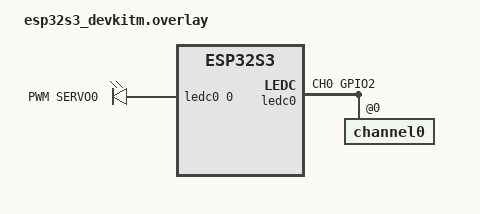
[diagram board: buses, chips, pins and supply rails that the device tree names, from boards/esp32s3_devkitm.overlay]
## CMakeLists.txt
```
# SPDX-License-Identifier: Apache-2.0

cmake_minimum_required(VERSION 3.20.0)
find_package(Zephyr REQUIRED HINTS $ENV{ZEPHYR_BASE})
project(servomotor_example)

target_sources(app PRIVATE src/main.c)
```

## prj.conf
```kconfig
CONFIG_STDOUT_CONSOLE=y
CONFIG_PRINTK=y
CONFIG_PWM=y
CONFIG_ENTROPY_DEVICE_RANDOM_GENERATOR=y
```

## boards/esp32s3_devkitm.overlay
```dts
#include <zephyr/dt-bindings/pwm/pwm.h>
#include <dt-bindings/pinctrl/esp32c3-pinctrl.h>

/ {
	aliases {
		pwm-servo0 = &pwm_servo0;
	};

	pwmleds {
		compatible = "pwm-leds";
		pwm_servo0: pwm_led_gpio0_2 {
			label = "PWM SERVO0";
			pwms = <&ledc0 0 PWM_MSEC(20) PWM_POLARITY_NORMAL>;
		};
	};
};

&pinctrl {
	ledc0_default: ledc0_default {
		group1 {
			pinmux = <LEDC_CH0_GPIO2>;
			output-enable;
		};
	};
};

&ledc0 {
	pinctrl-0 = <&ledc0_default>;
	pinctrl-names = "default";
	status = "okay";
	#address-cells = <1>;
	#size-cells = <0>;
	channel0@0 {
		reg = <0x0>;
		timer = <0>;
	};
};
```

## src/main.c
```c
/**
 * @file main.c
 * @author Jeronimo Agullo (jeronimoagullo97@gmail.com)
 * @brief Example of pwm signal controlling a servomotor with Zephyr RTOS
 * @version 1.0
 * @date 2024-03-10
 * 
 * @copyright Copyright (c) 2024
 * 
 */

#include <zephyr/kernel.h>
#include <zephyr/sys/printk.h>
#include <zephyr/device.h>
#include <zephyr/drivers/pwm.h>

static const struct pwm_dt_spec pwm_servo_0 = PWM_DT_SPEC_GET(DT_ALIAS(pwm_servo0));

// Minimum and Maximum angles (0 - 180º)
#define MIN_ANGLE_PULSE PWM_USEC(500)	// 500us --> 0°
#define MAX_ANGLE_PULSE PWM_USEC(2500) 	// 2.5ms --> 180°
#define STEP PWM_USEC(100)				// 100us --> ~10°

enum direction {
	DOWN,
	UP,
};

int main(void)
{
	uint8_t dir = 0U;
	uint32_t pulse_width = MIN_ANGLE_PULSE;
	int ret;

	printk("PWM servomotor app\n");

	if (!pwm_is_ready_dt(&pwm_servo_0)) {
		printk("Error: PWM device %s is not ready\n",
		       pwm_servo_0.dev->name);
		return 0;
	}

	printk("Period: %d nsec\nMIN_ANGLE_PULSE: %lu nsec\nMAX_ANGLE_PULSE: %lu nsec\n\n",
			pwm_servo_0.period, MIN_ANGLE_PULSE, MAX_ANGLE_PULSE);


	while (1) {

		printk("pulse_width: %d us\n", pulse_width/1000);
		ret = pwm_set_pulse_dt(&pwm_servo_0, pulse_width);
		if (ret < 0) {
			printk("Error %d: failed to set pulse width\n", ret);
			return 0;
		}

		if (dir == DOWN) {
			pulse_width -= STEP;
			if (pulse_width <= MIN_ANGLE_PULSE) {
				dir = UP;
				pulse_width = MIN_ANGLE_PULSE;
			}
		} else {
			pulse_width += STEP;
			if (pulse_width >= MAX_ANGLE_PULSE) {
				dir = DOWN;
				pulse_width = MAX_ANGLE_PULSE;
			}
		}

		k_sleep(K_SECONDS(1));
	}
	return 0;
}
```
